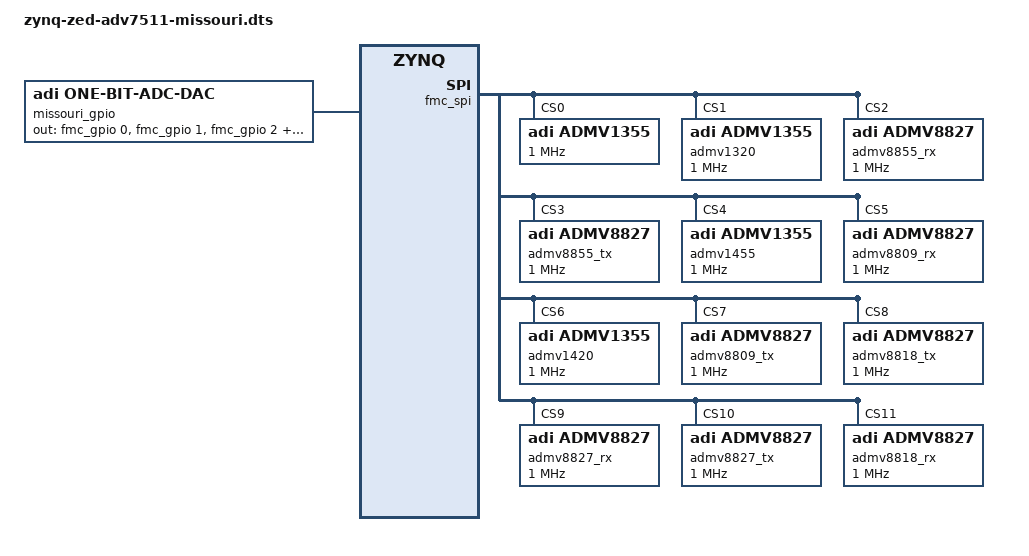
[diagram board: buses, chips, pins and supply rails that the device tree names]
// SPDX-License-Identifier: GPL-2.0
/*
 *
 * hdl_project: <missouri/zed>
 * board_revision: <>
 *
 * Copyright (C) 2024 Analog Devices Inc.
 */
/dts-v1/;

#include "zynq-zed.dtsi"
#include "zynq-zed-adv7511.dtsi"

#include <dt-bindings/gpio/gpio.h>

&fpga_axi {

	fmc_gpio: gpio@50000000 {
		#gpio-cells = <2>;
		compatible = "xlnx,xps-gpio-1.00.a";
		gpio-controller ;
		reg = <0x50000000 0x10000>;
		#address-cells = <1>;
		#size-cells = <0>;
		xlnx,is-dual = <0x1>;
		xlnx,gpio-width = <32>;
		xlnx,gpio2-width = <32>;
	};

	fmc_spi: spi@50010000 {
		#address-cells = <1>;
		#size-cells = <0>;
		bits-per-word = <8>;
		compatible = "xlnx,xps-spi-2.00.b";
		fifo-size = <16>;
		interrupt-parent = <&intc>;
		interrupts = <0 56 IRQ_TYPE_LEVEL_HIGH>;
		num-cs = <12>;
		reg = <0x50010000 0x10000>;
		xlnx,num-ss-bits = <12>;
		xlnx,spi-mode = <0>;

		admv1355: admv1355@0 {
			compatible = "adi,admv1355";
			reg = <0>;
			#address-cells = <1>;
			#size-cells = <0>;
			spi-max-frequency = <1000000>;
			//cen-gpios = <&fmc_gpio 36 GPIO_ACTIVE_HIGH>;
			//reset-gpios = <&fmc_gpio 17 GPIO_ACTIVE_HIGH>;
		};
		admv1320: admv1320@1 {
			compatible = "adi,admv1355";
			reg = <1>;
			#address-cells = <1>;
			#size-cells = <0>;
			spi-max-frequency = <1000000>;
			//cen-gpios = <&fmc_gpio 35 GPIO_ACTIVE_HIGH>;
			//reset-gpios = <&fmc_gpio 4 GPIO_ACTIVE_HIGH>;
		};
		admv8855_rx: admv8855_rx@2 {
			compatible = "adi,admv8827";
			reg = <2>;
			#address-cells = <1>;
			#size-cells = <0>;
			spi-max-frequency = <1000000>;
		};
		admv8855_tx: admv8855_tx@3 {
			compatible = "adi,admv8827";
			reg = <3>;
			#address-cells = <1>;
			#size-cells = <0>;
			spi-max-frequency = <1000000>;
		};
		admv1455: admv1455@4 {
			compatible = "adi,admv1355";
			reg = <4>;
			#address-cells = <1>;
			#size-cells = <0>;
			spi-max-frequency = <1000000>;
			//cen-gpios = <&fmc_gpio 32 GPIO_ACTIVE_HIGH>;
			//reset-gpios = <&fmc_gpio 7 GPIO_ACTIVE_HIGH>;
		};
		admv8809_rx: admv8809_rx@5 {
			compatible = "adi,admv8827";
			reg = <5>;
			#address-cells = <1>;
			#size-cells = <0>;
			spi-max-frequency = <1000000>;
		};
		admv1420: admv1420@6 {
			compatible = "adi,admv1355";
			reg = <6>;
			#address-cells = <1>;
			#size-cells = <0>;
			spi-max-frequency = <1000000>;
			//cen-gpios = <&fmc_gpio 30 GPIO_ACTIVE_HIGH>;
			//reset-gpios = <&fmc_gpio 12 GPIO_ACTIVE_HIGH>;
		};
		admv8809_tx: admv8809_tx@7 {
			compatible = "adi,admv8827";
			reg = <7>;
			#address-cells = <1>;
			#size-cells = <0>;
			spi-max-frequency = <1000000>;
		};
		admv8818_tx: admv8818_tx@8 {		// CS_1320_8818
			compatible = "adi,admv8827";
			reg = <8>;
			#address-cells = <1>;
			#size-cells = <0>;
			spi-max-frequency = <1000000>;
		};
		admv8827_rx: admv8827_rx@9 {
			compatible = "adi,admv8827";
			reg = <9>;
			#address-cells = <1>;
			#size-cells = <0>;
			spi-max-frequency = <1000000>;
		};
		admv8827_tx: admv8827_tx@a {
			compatible = "adi,admv8827";
			reg = <10>;
			#address-cells = <1>;
			#size-cells = <0>;
			spi-max-frequency = <1000000>;
		};
		admv8818_rx: admv8818_rx@b {		// CS_1420_8818
			compatible = "adi,admv8827";
			reg = <11>;
			#address-cells = <1>;
			#size-cells = <0>;
			spi-max-frequency = <1000000>;
		};
	};

	long_peak_control@0 {
		compatible = "adi,one-bit-adc-dac";
		#address-cells = <1>;
		#size-cells = <0>;
		out-gpios =
			<&fmc_gpio 0 0>,	// AD5593R	RST_B	SPI_RF
			<&fmc_gpio 1 0>,	// ADP5600	EN	LO_RX
			<&fmc_gpio 2 0>,	// ADP5600	EN	LO_TX
			<&fmc_gpio 3 0>,	// ADMV1355	LOAD	SPI_RF
			<&fmc_gpio 4 0>,	// ADMV1320	RST	SPI_RF
			<&fmc_gpio 5 0>,	// Ext_FLT_3	Ext_FLT_3	SPI_RF
			<&fmc_gpio 6 0>,	// ADMV1320	LOAD	SPI_RF
			<&fmc_gpio 7 0>,	// ADMV1455	RST	SPI_RF
			<&fmc_gpio 8 0>,	// Ext_FLT_0	Ext_FLT_0	SPI_RF
			<&fmc_gpio 9 0>,	// Ext_Gain_1	Ext_Gain_1	SPI_RF
			<&fmc_gpio 10 0>,	// Ext_Gain_0	Ext_Gain_0	SPI_RF
			<&fmc_gpio 11 0>,	// Ext_FLT_4	Ext_FLT_4	SPI_RF
			<&fmc_gpio 12 0>,	// ADMV1420	RST	SPI_RF
			<&fmc_gpio 13 0>,	// Ext_FLT_1	Ext_FLT_1	SPI_RF
			<&fmc_gpio 14 0>,	// Ext_Gain_3	Ext_Gain_3	SPI_RF
			<&fmc_gpio 15 0>,	// Ext_Gain_2	Ext_Gain_2	SPI_RF
			<&fmc_gpio 16 0>,	// ADMV1455	LOAD	SPI_RF
			<&fmc_gpio 17 0>,	// ADMV1355	RST	SPI_RF
			<&fmc_gpio 18 0>,	// Ext_FLT_2	Ext_FLT_2	SPI_RF
			<&fmc_gpio 19 0>,	// Ext_Gain_5	Ext_Gain_5	SPI_RF
			<&fmc_gpio 20 0>,	// Ext_Gain_4	Ext_Gain_4	SPI_RF
			<&fmc_gpio 21 0>,	// ADRF5025	CTRL	SPI_RF
			<&fmc_gpio 22 0>,	// ADMV1420	LOAD	SPI_RF
			<&fmc_gpio 23 0>,	// ADMV8818	SFL	LO_RX
			<&fmc_gpio 24 0>,	// ADMV8818	SFL	LO_TX
			<&fmc_gpio 25 0>,	// COMBINED	RST	SPI_RF
			<&fmc_gpio 26 0>,	// ADRF5032	CTRL	SPI_RF
			<&fmc_gpio 27 0>,	// ADMV8909	RST	LO_RX
			<&fmc_gpio 28 0>,	// ADMV8909	RST	LO_TX
			<&fmc_gpio 29 0>,	// ADMV8909	CS	LO_TX
			<&fmc_gpio 30 0>,	// ADMV1420	CEN	SPI_RF
			<&fmc_gpio 31 0>,	// ADMV8909	CS	LO_RX
			<&fmc_gpio 32 0>,	// ADMV1455	CEN	SPI_RF
			<&fmc_gpio 33 0>,	// ADMV8909	HPF_B1	LO_RX
			<&fmc_gpio 34 0>,	// ADMV8909	HPF_B0	LO_RX
			<&fmc_gpio 35 0>,	// ADMV1320	CEN	SPI_RF
			<&fmc_gpio 36 0>,	// ADMV1355	CEN	SPI_RF
			<&fmc_gpio 37 0>,	// ADMV8909	HPF_B3	LO_RX
			<&fmc_gpio 38 0>,	// ADMV8909	HPF_B2	LO_RX
			<&fmc_gpio 39 0>,	// ADMV8909	LPF_B3	LO_RX
			<&fmc_gpio 40 0>,	// ADMV8909	LPF_B2	LO_RX
			<&fmc_gpio 41 0>,	// ADMV8909	HPF_B3	LO_TX
			<&fmc_gpio 42 0>,	// ADMV8909	HPF_B2	LO_TX
			<&fmc_gpio 43 0>,	// ADMV8909	LPF_B3	LO_TX
			<&fmc_gpio 44 0>,	// ADMV8909	LPF_B2	LO_TX
			<&fmc_gpio 45 0>,	// ADMV8909	LPF_B1	LO_RX
			<&fmc_gpio 46 0>,	// ADMV8909	LPF_B0	LO_RX
			<&fmc_gpio 47 0>,	// ADMV8909	HPF_B0	LO_TX
			<&fmc_gpio 48 0>,	// ADMV8909	HPF_B1	LO_TX
			<&fmc_gpio 49 0>,	// ADMV8909	LPF_B1	LO_TX
			<&fmc_gpio 50 0>;	// ADMV8909	LPF_B0	LO_TX

		label = "missouri_gpio";

		channel@0 {
			reg = <0>;
			label = "AD5593R_RST_B_SPI_RF";
		};
		channel@1 {
			reg = <1>;
			label = "ADP5600_EN_LO_RX";
		};
		channel@2 {
			reg = <2>;
			label = "ADP5600_EN_LO_TX";
		};
		channel@3 {
			reg = <3>;
			label = "ADMV1355_LOAD_SPI_RF";
		};
		channel@4 {
			reg = <4>;
			label = "ADMV1320_RST_SPI_RF";
		};
		channel@5 {
			reg = <5>;
			label = "Ext_FLT_3_Ext_FLT_3_SPI_RF";
		};
		channel@6 {
			reg = <6>;
			label = "ADMV1320_LOAD_SPI_RF";
		};
		channel@7 {
			reg = <7>;
			label = "ADMV1455_RST_SPI_RF";
		};
		channel@8 {
			reg = <8>;
			label = "Ext_FLT_0_Ext_FLT_0_SPI_RF";
		};
		channel@9 {
			reg = <9>;
			label = "Ext_Gain_1_Ext_Gain_1_SPI_RF";
		};
		channel@10 {
			reg = <10>;
			label = "Ext_Gain_0_Ext_Gain_0_SPI_RF";
		};
		channel@11 {
			reg = <11>;
			label = "Ext_FLT_4_Ext_FLT_4_SPI_RF";
		};
		channel@12 {
			reg = <12>;
			label = "ADMV1420_RST_SPI_RF";
		};
		channel@13 {
			reg = <13>;
			label = "Ext_FLT_1_Ext_FLT_1_SPI_RF";
		};
		channel@14 {
			reg = <14>;
			label = "Ext_Gain_3_Ext_Gain_3_SPI_RF";
		};
		channel@15 {
			reg = <15>;
			label = "Ext_Gain_2_Ext_Gain_2_SPI_RF";
		};
		channel@16 {
			reg = <16>;
			label = "ADMV1455_LOAD_SPI_RF";
		};
		channel@17 {
			reg = <17>;
			label = "ADMV1355_RST_SPI_RF";
		};
		channel@18 {
			reg = <18>;
			label = "Ext_FLT_2_Ext_FLT_2_SPI_RF";
		};
		channel@19 {
			reg = <19>;
			label = "Ext_Gain_5_Ext_Gain_5_SPI_RF";
		};
		channel@20 {
			reg = <20>;
			label = "Ext_Gain_4_Ext_Gain_4_SPI_RF";
		};
		channel@21 {
			reg = <21>;
			label = "ADRF5025_CTRL_SPI_RF";
		};
		channel@22 {
			reg = <22>;
			label = "ADMV1420_LOAD_SPI_RF";
		};
		channel@23 {
			reg = <23>;
			label = "ADMV8818_SFL_LO_RX";
		};
		channel@24 {
			reg = <24>;
			label = "ADMV8818_SFL_LO_TX";
		};
		channel@25 {
			reg = <25>;
			label = "COMBINED_RST_SPI_RF";
		};
		channel@26 {
			reg = <26>;
			label = "ADRF5032_CTRL_SPI_RF";
		};
		channel@27 {
			reg = <27>;
			label = "ADMV8909_RST_LO_RX";
		};
		channel@28 {
			reg = <28>;
			label = "ADMV8909_RST_LO_TX";
		};
		channel@29 {
			reg = <29>;
			label = "ADMV8909_CS_LO_TX";
		};
		channel@30 {
			reg = <30>;
			label = "ADMV1420_CEN_SPI_RF";
		};
		channel@31 {
			reg = <31>;
			label = "ADMV8909_CS_LO_RX";
		};
		channel@32 {
			reg = <32>;
			label = "ADMV1455_CEN_SPI_RF";
		};
		channel@33 {
			reg = <33>;
			label = "ADMV8909_HPF_B1_LO_RX";
		};
		channel@34 {
			reg = <34>;
			label = "ADMV8909_HPF_B0_LO_RX";
		};
		channel@35 {
			reg = <35>;
			label = "ADMV1320_CEN_SPI_RF";
		};
		channel@36 {
			reg = <36>;
			label = "ADMV1355_CEN_SPI_RF";
		};
		channel@37 {
			reg = <37>;
			label = "ADMV8909_HPF_B3_LO_RX";
		};
		channel@38 {
			reg = <38>;
			label = "ADMV8909_HPF_B2_LO_RX";
		};
		channel@39 {
			reg = <39>;
			label = "ADMV8909_LPF_B3_LO_RX";
		};
		channel@40 {
			reg = <40>;
			label = "ADMV8909_LPF_B2_LO_RX";
		};
		channel@41 {
			reg = <41>;
			label = "ADMV8909_HPF_B3_LO_TX";
		};
		channel@42 {
			reg = <42>;
			label = "ADMV8909_HPF_B2_LO_TX";
		};
		channel@43 {
			reg = <43>;
			label = "ADMV8909_LPF_B3_LO_TX";
		};
		channel@44 {
			reg = <44>;
			label = "ADMV8909_LPF_B2_LO_TX";
		};
		channel@45 {
			reg = <45>;
			label = "ADMV8909_LPF_B1_LO_RX";
		};
		channel@46 {
			reg = <46>;
			label = "ADMV8909_LPF_B0_LO_RX";
		};
		channel@47 {
			reg = <47>;
			label = "ADMV8909_HPF_B0_LO_TX";
		};
		channel@48 {
			reg = <48>;
			label = "ADMV8909_HPF_B1_LO_TX";
		};
		channel@49 {
			reg = <49>;
			label = "ADMV8909_LPF_B1_LO_TX";
		};
		channel@50 {
			reg = <50 0>;
			label = "ADMV8909_LPF_B0_LO_TX";
		};
	};
};
